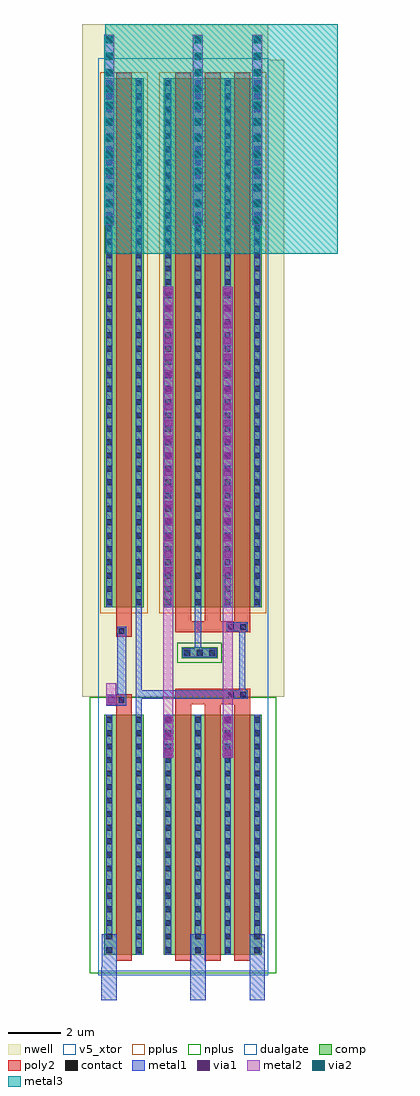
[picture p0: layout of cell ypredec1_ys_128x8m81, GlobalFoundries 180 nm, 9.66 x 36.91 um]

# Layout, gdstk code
import gdstk
lib = gdstk.Library(unit=1e-6, precision=1e-09)
def R(c, l, rs):  # rectangles x0, y0, x1, y1
    for r in rs: c.add(gdstk.rectangle(r[:2], r[2:], *l))
def A(c, l, x, y, w, h, nx, ny, dx, dy):  # array of equal rectangles
    R(c, l, [(x+i*dx, y+j*dy, x+i*dx+w, y+j*dy+h) for i in range(nx) for j in range(ny)])
def P(c, l, *ps):  # polygons
    for p in ps: c.add(gdstk.Polygon(p, *l))
nwell = (21, 0)
comp = (22, 0)
poly2 = (30, 0)
pplus = (31, 0)
nplus = (32, 0)
contact = (33, 0)
metal1 = (34, 0)
via1 = (35, 0)
metal2 = (36, 0)
via2 = (38, 0)
metal3 = (42, 0)
dualgate = (55, 0)
v5_xtor = (112, 1)

m1_poly24310590548732_12 = lib.new_cell('M1_POLY24310590548732_128x8m81')
R(m1_poly24310590548732_12, poly2, [(-0.21,-0.21,0.21,0.21)])
R(m1_poly24310590548732_12, contact, [(-0.11,-0.11,0.11,0.11)])
R(m1_poly24310590548732_12, metal1, [(-0.17,-0.17,0.17,0.17)])

m1_nwell4310590548733_12 = lib.new_cell('M1_NWELL4310590548733_128x8m81')
R(m1_nwell4310590548733_12, nwell, [(-0.64,-0.43,0.64,0.43)])
R(m1_nwell4310590548733_12, comp, [(-0.68,-0.21,0.68,0.21)])
R(m1_nwell4310590548733_12, nplus, [(-0.84,-0.37,0.84,0.37)])
A(m1_nwell4310590548733_12, contact, -0.58, -0.11, 0.22, 0.22, 3, 1, 0.47, 0)
R(m1_nwell4310590548733_12, metal1, [(-0.64,-0.17,0.64,0.17)])

m1_poly24310590548734_12 = lib.new_cell('M1_POLY24310590548734_128x8m81')
R(m1_poly24310590548734_12, poly2, [(-0.445,-0.21,0.445,0.21)])
R(m1_poly24310590548734_12, contact, [(-0.345,-0.11,-0.125,0.11), (0.125,-0.11,0.345,0.11)])
R(m1_poly24310590548734_12, metal1, [(-0.405,-0.17,0.405,0.17)])

m2_m14310590548751_128x8 = lib.new_cell('M2_M14310590548751_128x8m81')
R(m2_m14310590548751_128x8, metal1, [(-0.19,-3.6,0.19,3.6)])
A(m2_m14310590548751_128x8, via1, -0.13, -3.54, 0.26, 0.26, 1, 12, 0, 0.62)
R(m2_m14310590548751_128x8, metal2, [(-0.19,-3.6,0.19,3.6)])

m3_m24310590548752_128x8 = lib.new_cell('M3_M24310590548752_128x8m81')
R(m3_m24310590548752_128x8, metal2, [(-0.19,-3.6,0.19,3.6)])
A(m3_m24310590548752_128x8, via2, -0.13, -3.54, 0.26, 0.26, 1, 12, 0, 0.62)
R(m3_m24310590548752_128x8, metal3, [(-0.19,-3.6,0.19,3.6)])

m2_m14310590548753_128x8 = lib.new_cell('M2_M14310590548753_128x8m81')
R(m2_m14310590548753_128x8, metal1, [(-0.19,-0.81,0.19,0.81)])
A(m2_m14310590548753_128x8, via1, -0.13, -0.75, 0.26, 0.26, 1, 3, 0, 0.62)
R(m2_m14310590548753_128x8, metal2, [(-0.19,-0.81,0.19,0.81)])

m2_m14310590548754_128x8 = lib.new_cell('M2_M14310590548754_128x8m81')
R(m2_m14310590548754_128x8, metal1, [(-0.19,-0.19,0.19,0.19)])
R(m2_m14310590548754_128x8, via1, [(-0.13,-0.13,0.13,0.13)])
R(m2_m14310590548754_128x8, metal2, [(-0.19,-0.19,0.19,0.19)])

m2_m14310590548755_128x8 = lib.new_cell('M2_M14310590548755_128x8m81')
R(m2_m14310590548755_128x8, metal1, [(-0.19,-5.46,0.19,5.46)])
A(m2_m14310590548755_128x8, via1, -0.13, -5.4, 0.26, 0.26, 1, 18, 0, 0.62)
R(m2_m14310590548755_128x8, metal2, [(-0.19,-5.46,0.19,5.46)])

nmos_5p04310590548758_12 = lib.new_cell('nmos_5p04310590548758_128x8m81')
R(nmos_5p04310590548758_12, comp, [(-0.44,0,1.04,9.08), (-0.44,0,-0.08,9.08), (0.68,0,1.04,9.08)])
R(nmos_5p04310590548758_12, poly2, [(0,-0.22,0.6,9.3), (0,9.08,0.6,9.3)])
R(nmos_5p04310590548758_12, nplus, [(-0.6,-0.23,1.2,9.31)])
A(nmos_5p04310590548758_12, contact, -0.37, 0.07, 0.22, 0.22, 1, 11, 0, 0.515)
A(nmos_5p04310590548758_12, contact, 0.75, 0.07, 0.22, 0.22, 1, 11, 0, 0.515)
A(nmos_5p04310590548758_12, contact, -0.37, 5.73, 0.22, 0.22, 1, 7, 0, 0.51)
A(nmos_5p04310590548758_12, contact, 0.75, 5.73, 0.22, 0.22, 1, 7, 0, 0.51)
R(nmos_5p04310590548758_12, metal1, [(-0.375,0,-0.145,9.08), (-0.375,0,-0.145,9.08), (0.745,0,0.975,9.08), (0.745,0,0.975,9.08)])
R(nmos_5p04310590548758_12, dualgate, [(-0.68,-0.62,1.28,9.7)])
R(nmos_5p04310590548758_12, v5_xtor, [(-0.68,-0.62,1.28,9.7)])
nmos_5p04310590548758_12.add(gdstk.Label('S', (-0.26,4.54), layer=34, texttype=0))
nmos_5p04310590548758_12.add(gdstk.Label('D', (0.86,4.54), layer=34, texttype=0))

pmos_5p04310590548759_12 = lib.new_cell('pmos_5p04310590548759_128x8m81')
R(pmos_5p04310590548759_12, nwell, [(-1.04,-0.6,1.64,20.6)])
R(pmos_5p04310590548759_12, comp, [(-0.44,0,1.04,20), (-0.44,0,-0.08,20), (0.68,0,1.04,20)])
R(pmos_5p04310590548759_12, poly2, [(0,-0.22,0.6,20.22), (0,20,0.6,20.22)])
R(pmos_5p04310590548759_12, pplus, [(-0.6,-0.23,1.2,20.23)])
A(pmos_5p04310590548759_12, contact, -0.37, 0.07, 0.22, 0.22, 1, 29, 0, 0.505)
A(pmos_5p04310590548759_12, contact, 0.75, 0.07, 0.22, 0.22, 1, 29, 0, 0.505)
A(pmos_5p04310590548759_12, contact, -0.37, 14.71, 0.22, 0.22, 1, 11, 0, 0.5)
A(pmos_5p04310590548759_12, contact, 0.75, 14.71, 0.22, 0.22, 1, 11, 0, 0.5)
R(pmos_5p04310590548759_12, metal1, [(-0.375,0,-0.145,20), (-0.375,0,-0.145,20), (0.745,0,0.975,20), (0.745,0,0.975,20)])
R(pmos_5p04310590548759_12, dualgate, [(-0.68,-0.62,1.28,20.62)])
R(pmos_5p04310590548759_12, v5_xtor, [(-0.68,-0.62,1.28,20.62)])
pmos_5p04310590548759_12.add(gdstk.Label('S', (-0.26,10), layer=34, texttype=0))
pmos_5p04310590548759_12.add(gdstk.Label('D', (0.86,10), layer=34, texttype=0))

ypredec1_ys_128x8m81 = lib.new_cell('ypredec1_ys_128x8m81')
R(ypredec1_ys_128x8m81, nwell, [(-0.005,11.47,7.625,35.555), (-0.005,12.46,7.03,36.91)])
R(ypredec1_ys_128x8m81, poly2, [(1.27,13.74,1.87,14.765), (3.51,13.895,4.11,15.215), (3.92,13.895,6.065,14.315), (4.63,13.895,5.23,15.14), (5.75,13.895,6.35,15.23)])
P(ypredec1_ys_128x8m81, poly2, [(3.515,10.775),(3.515,10.92),(3.51,10.92),(3.51,11.76),(6.35,11.76),(6.35,10.92),(6.345,10.92),(6.345,10.775),(5.755,10.775),(5.755,10.92),(5.75,10.92),(5.75,11.175),(5.23,11.175),(5.23,10.92),(5.225,10.92),(5.225,10.775),(4.635,10.775),(4.635,10.92),(4.63,10.92),(4.63,11.175),(4.11,11.175),(4.11,10.92),(4.105,10.92),(4.105,10.775)],
  [(1.275,10.775),(1.275,10.92),(1.27,10.92),(1.27,11.55),(1.87,11.55),(1.87,10.92),(1.865,10.92),(1.865,10.775)])
A(ypredec1_ys_128x8m81, nplus, 2.52, 1.015, 2.575, 10.44, 3, 1, 1.12, 0)
R(ypredec1_ys_128x8m81, nplus, [(0.28,1.015,3.215,11.455)])
R(ypredec1_ys_128x8m81, metal1, [(2.21,11.38,5.83,11.72)])
P(ypredec1_ys_128x8m81, metal1, [(0.72,-0.005),(0.72,1.24),(0.725,1.24),(0.725,2.475),(1.3,2.475),(1.3,-0.005)],
  [(2.015,10.31),(2.015,15.015),(2.245,15.015),(2.245,11.72),(2.44,11.72),(2.44,11.38),(2.245,11.38),(2.245,10.31)],
  [(4.08,-0.005),(4.08,1.24),(4.085,1.24),(4.085,2.475),(4.66,2.475),(4.66,-0.005)],
  [(0.9,11.13),(0.9,11.545),(1.31,11.545),(1.31,14.01),(1.65,14.01),(1.65,11.13)],
  [(6.32,-0.005),(6.32,1.24),(6.325,1.24),(6.325,2.475),(6.9,2.475),(6.9,-0.005)])
R(ypredec1_ys_128x8m81, metal2, [(3.06,10.185,3.44,16.51), (5.3,10.185,5.68,16.565), (0.9,11.35,1.28,11.975)])
R(ypredec1_ys_128x8m81, metal3, [(0.86,28.22,9.655,36.91)])
R(ypredec1_ys_128x8m81, dualgate, [(0.59,0.935,7.03,35.615)])
R(ypredec1_ys_128x8m81, v5_xtor, [(0.59,1.08,7.03,35.615)])
ypredec1_ys_128x8m81.add(gdstk.FlexPath([(6.045,14.04),(6.045,11.52)], 0.23, ends="flush", simple_path=True, layer=34, datatype=0))  # metal1
ypredec1_ys_128x8m81.add(gdstk.FlexPath([(4.37,15.035),(4.37,13.055)], 0.23, ends="flush", simple_path=True, layer=34, datatype=0))  # metal1
ypredec1_ys_128x8m81.add(gdstk.Reference(m1_poly24310590548732_12, (1.48,11.34)))
ypredec1_ys_128x8m81.add(gdstk.Reference(m1_poly24310590548732_12, (1.48,13.95)))
ypredec1_ys_128x8m81.add(gdstk.Reference(m1_nwell4310590548733_12, (4.435,13.13)))
ypredec1_ys_128x8m81.add(gdstk.Reference(m1_poly24310590548734_12, (5.85,11.55)))
ypredec1_ys_128x8m81.add(gdstk.Reference(m1_poly24310590548734_12, (5.85,14.105)))
ypredec1_ys_128x8m81.add(gdstk.Reference(m2_m14310590548751_128x8, (1.01,32.9)))
ypredec1_ys_128x8m81.add(gdstk.Reference(m2_m14310590548751_128x8, (6.61,32.9)))
ypredec1_ys_128x8m81.add(gdstk.Reference(m2_m14310590548751_128x8, (4.37,32.9)))
ypredec1_ys_128x8m81.add(gdstk.Reference(m3_m24310590548752_128x8, (4.37,32.9)))
ypredec1_ys_128x8m81.add(gdstk.Reference(m3_m24310590548752_128x8, (6.61,32.9)))
ypredec1_ys_128x8m81.add(gdstk.Reference(m3_m24310590548752_128x8, (1.01,32.9)))
ypredec1_ys_128x8m81.add(gdstk.Reference(m2_m14310590548753_128x8, (3.25,9.97)))
ypredec1_ys_128x8m81.add(gdstk.Reference(m2_m14310590548753_128x8, (5.49,9.97)))
ypredec1_ys_128x8m81.add(gdstk.Reference(m2_m14310590548754_128x8, (1.09,11.355)))
ypredec1_ys_128x8m81.add(gdstk.Reference(m2_m14310590548755_128x8, (3.25,21.51)))
ypredec1_ys_128x8m81.add(gdstk.Reference(m2_m14310590548755_128x8, (5.49,21.51)))
ypredec1_ys_128x8m81.add(gdstk.Reference(nmos_5p04310590548758_12, (5.75,1.7)))
ypredec1_ys_128x8m81.add(gdstk.Reference(nmos_5p04310590548758_12, (1.27,1.7)))
ypredec1_ys_128x8m81.add(gdstk.Reference(nmos_5p04310590548758_12, (3.51,1.7)))
ypredec1_ys_128x8m81.add(gdstk.Reference(nmos_5p04310590548758_12, (4.63,1.7)))
ypredec1_ys_128x8m81.add(gdstk.Reference(pmos_5p04310590548759_12, (5.75,14.855)))
ypredec1_ys_128x8m81.add(gdstk.Reference(pmos_5p04310590548759_12, (4.63,14.855)))
ypredec1_ys_128x8m81.add(gdstk.Reference(pmos_5p04310590548759_12, (3.51,14.855)))
ypredec1_ys_128x8m81.add(gdstk.Reference(pmos_5p04310590548759_12, (1.27,14.855)))

lib.write_gds('ypredec1_ys_128x8m81.gds')
